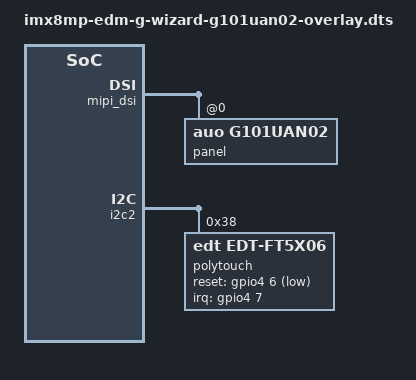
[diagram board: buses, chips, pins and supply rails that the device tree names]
// SPDX-License-Identifier: (GPL-2.0+ OR MIT)
/*
 * Copyright 2020 TechNexion Ltd.
 *
 * Author: Richard Hu <richard.hu@technexion.com>
 *
 */

/dts-v1/;
/plugin/;

#include <dt-bindings/interrupt-controller/irq.h>
#include <dt-bindings/gpio/gpio.h>

/ {
	fragment@0 {
		target-path = "/";
		__overlay__ {
			backlight_mipi {
				status = "okay";
			};
		};
	};

	fragment@1 {
		target = <&mipi_dsi>;
		__overlay__ {
			status = "okay";
			#address-cells = <1>;
			#size-cells = <0>;

			panel@0 {
				compatible = "auo,g101uan02";
				reg = <0>;
				status = "okay";
			};
		};
	};

	fragment@2 {
		target = <&i2c2>;
		__overlay__ {
			#address-cells = <1>;
			#size-cells = <0>;
			status = "okay";

			polytouch: edt-ft5826@38 {
				compatible = "edt,edt-ft5x06";
				reg = <0x38>;
				pinctrl-names = "default";
				pinctrl-0 = <&pinctrl_touch_irq>, <&pinctrl_touch_reset>;
				interrupt-parent = <&gpio4>;
				interrupts = <7 IRQ_TYPE_EDGE_FALLING>;
				reset-gpios = <&gpio4 6 GPIO_ACTIVE_LOW>;
				touchscreen-size-x = <1920>;
				touchscreen-size-y = <1200>;
			};
		};
	};
};
